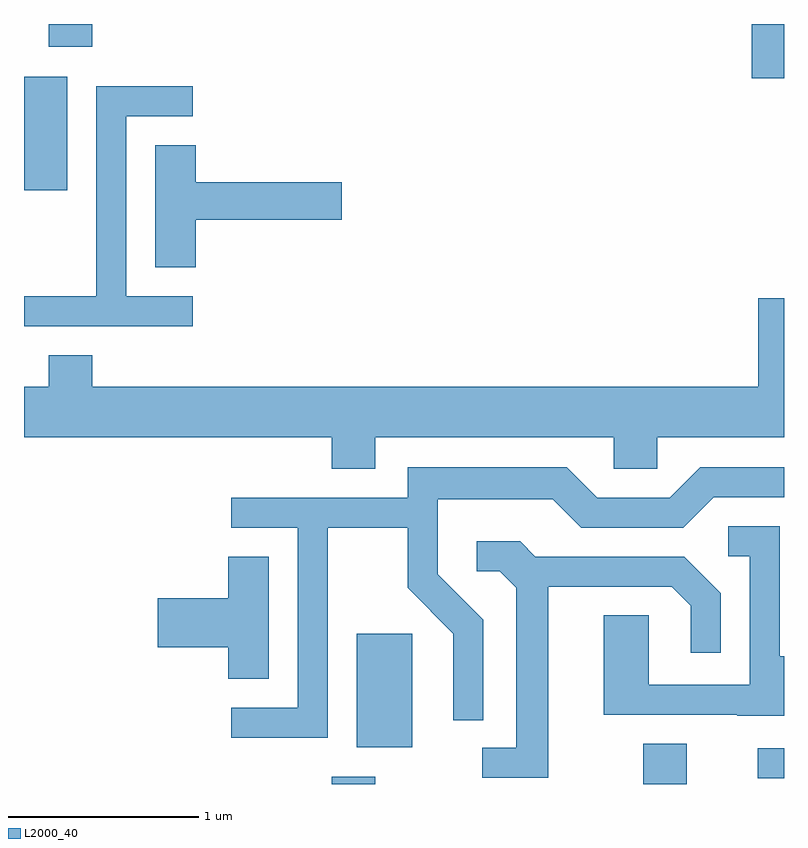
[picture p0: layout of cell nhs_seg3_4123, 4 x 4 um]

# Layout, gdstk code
import gdstk
lib = gdstk.Library(unit=1e-6, precision=1e-09)
def R(c, l, rs):  # rectangles x0, y0, x1, y1
    for r in rs: c.add(gdstk.rectangle(r[:2], r[2:], *l))
def P(c, l, *ps):  # polygons
    for p in ps: c.add(gdstk.Polygon(p, *l))
L2000_40 = (2000, 40)

nhs_seg3_4123 = lib.new_cell('nhs_seg3_4123')
R(nhs_seg3_4123, L2000_40, [(307.231,1201.892,307.459,1201.929), (308.871,1201.892,309.099,1202.104), (309.473,1201.921,309.611,1202.079), (307.361,1202.086,307.654,1202.684), (305.611,1205.016,305.839,1205.614), (309.441,1205.606,309.611,1205.892), (305.741,1205.771,305.969,1205.892)])
P(nhs_seg3_4123, L2000_40, [(306.498,1204.459),(306.149,1204.459),(306.149,1205.406),(306.498,1205.406),(306.498,1205.564),(305.991,1205.564),(305.991,1204.459),(305.611,1204.459),(305.611,1204.301),(306.498,1204.301)],
  [(306.514,1204.861),(307.284,1204.861),(307.284,1205.059),(306.514,1205.059),(306.514,1205.254),(306.301,1205.254),(306.301,1204.611),(306.514,1204.611)],
  [(307.459,1203.716),(308.716,1203.716),(308.716,1203.551),(308.944,1203.551),(308.944,1203.716),(309.611,1203.716),(309.611,1204.448),(309.476,1204.448),(309.476,1203.984),(305.969,1203.984),(305.969,1204.149),(305.741,1204.149),(305.741,1203.984),(305.611,1203.984),(305.611,1203.716),(307.231,1203.716),(307.231,1203.551),(307.459,1203.551)],
  [(307.209,1203.241),(307.631,1203.241),(307.631,1202.924),(307.871,1202.684),(307.871,1202.228),(308.029,1202.228),(308.029,1202.757),(307.789,1202.997),(307.789,1203.391),(308.394,1203.391),(308.544,1203.241),(309.082,1203.241),(309.242,1203.401),(309.611,1203.401),(309.611,1203.559),(309.169,1203.559),(309.009,1203.399),(308.627,1203.399),(308.467,1203.559),(307.631,1203.559),(307.631,1203.399),(306.703,1203.399),(306.703,1203.241),(307.051,1203.241),(307.051,1202.294),(306.703,1202.294),(306.703,1202.136),(307.209,1202.136)],
  [(309.611,1202.564),(309.589,1202.564),(309.589,1203.249),(309.318,1203.249),(309.318,1203.091),(309.431,1203.091),(309.431,1202.414),(308.899,1202.414),(308.899,1202.779),(308.661,1202.779),(308.661,1202.256),(309.365,1202.256),(309.365,1202.251),(309.611,1202.251)],
  [(308.369,1202.931),(309.019,1202.931),(309.121,1202.829),(309.121,1202.583),(309.279,1202.583),(309.279,1202.897),(309.087,1203.089),(308.302,1203.089),(308.222,1203.169),(307.993,1203.169),(307.993,1203.011),(308.114,1203.011),(308.201,1202.924),(308.201,1202.084),(308.023,1202.084),(308.023,1201.926),(308.369,1201.926)],
  [(306.899,1203.089),(306.686,1203.089),(306.686,1202.869),(306.316,1202.869),(306.316,1202.611),(306.686,1202.611),(306.686,1202.446),(306.899,1202.446)])

lib.write_gds('nhs_seg3_4123.gds')
